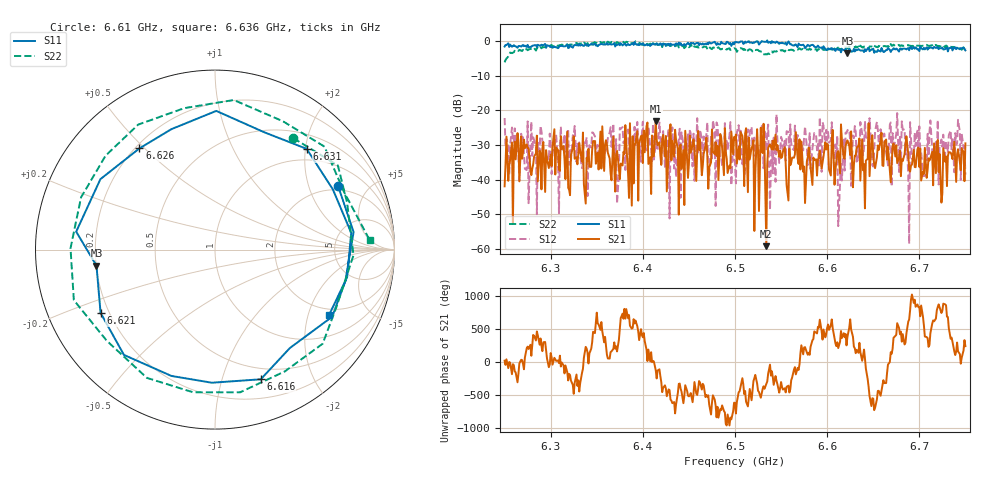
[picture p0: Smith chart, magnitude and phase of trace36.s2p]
# Hz S RI R 50
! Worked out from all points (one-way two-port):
!   401 points, 6.25 GHz to 6.75 GHz, reference 50 ohm
!   highest |S21| = -23.21 dB at 6.414 GHz (marker M1); lowest = -59.3 dB at 6.534 GHz (marker M2)
!   lowest |S11| = -3.5 dB at 6.622 GHz (marker M3), VSWR 4.99, Z = 10.1 - j3.23 ohm
!   |S11| at or under -10 dB: nowhere
!   |S22| runs from -6.1 to 0.0 dB; largest |S21 - S12| = 0.12
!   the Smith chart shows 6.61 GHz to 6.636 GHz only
!   S11 on the Smith chart (normalised r, x): 6.61 GHz: 1.79, +3.15; 6.616 GHz: 0.38, -1.34; 6.621 GHz: 0.17, -0.25; 6.626 GHz: 0.22, +0.48; 6.631 GHz: 0.76, +2.02; 6.636 GHz: 1.73, -2.74
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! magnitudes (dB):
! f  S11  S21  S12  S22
! 6.25 GHz  -1.6  -42.0  -22.2  -6.1
! 6.274 GHz  -1.7  -29.8  -37.3  -2.3
! 6.334 GHz  -1.0  -34.8  -36.7  -0.7
! 6.414 GHz  -1.0  -23.2  -29.2  -0.9
! 6.418 GHz  -1.0  -29.2  -23.5  -0.9
! 6.5 GHz  -0.3  -28.5  -35.0  -2.1
! 6.534 GHz  -0.2  -59.3  -31.7  -3.8
! 6.584 GHz  -1.1  -41.6  -31.1  -2.2
! 6.61 GHz  -2.2  -34.7  -33.5  -2.4
! 6.616 GHz  -2.3  -28.5  -40.3  -2.0
! 6.621 GHz  -2.8  -29.3  -26.6  -1.8
! 6.622 GHz  -3.5  -28.7  -25.7  -2.1
! 6.626 GHz  -3.1  -26.1  -41.8  -1.9
! 6.631 GHz  -2.4  -33.0  -26.1  -1.5
! 6.636 GHz  -2.7  -40.3  -23.4  -1.3
! 6.668 GHz  -2.5  -37.6  -24.1  -1.8
! 6.69 GHz  -1.9  -37.7  -23.4  -1.3
! 6.698 GHz  -2.4  -31.2  -25.4  -1.3
! 6.705 GHz  -1.9  -38.4  -38.8  -1.3
! 6.711 GHz  -2.0  -34.5  -26.4  -1.4
! 6.741 GHz  -1.9  -32.6  -29.5  -2.2
! 6.75 GHz  -2.7  -29.5  -38.6  -2.0
